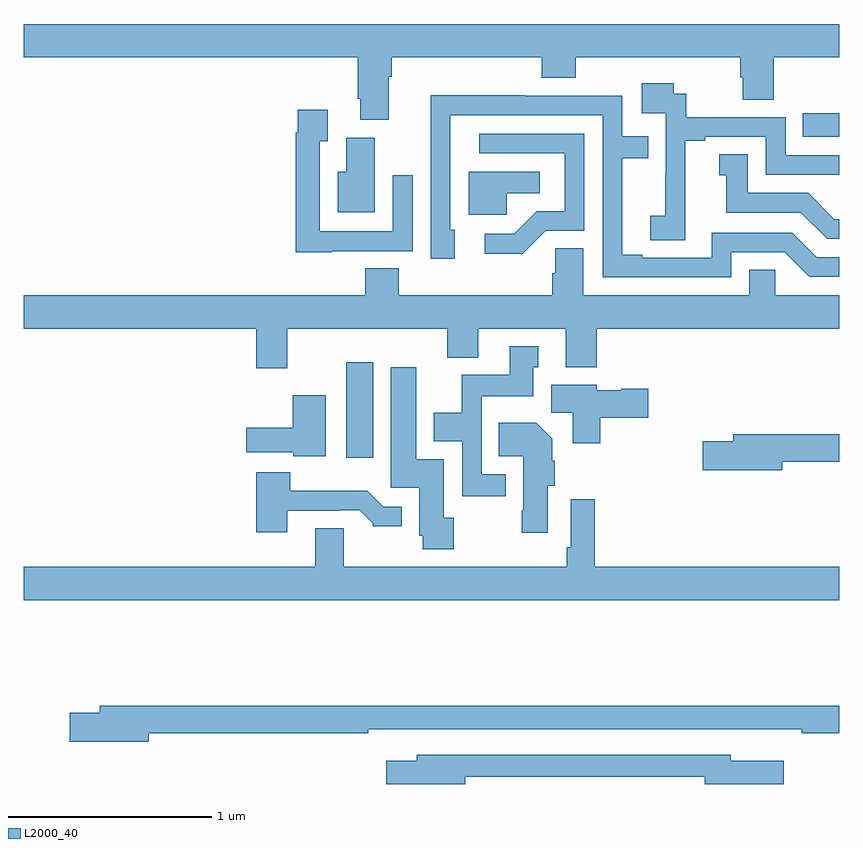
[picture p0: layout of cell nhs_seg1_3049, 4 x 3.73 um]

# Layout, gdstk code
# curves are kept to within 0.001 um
import gdstk
lib = gdstk.Library(unit=1e-6, precision=1e-09)
def R(c, l, rs):  # rectangles x0, y0, x1, y1
    for r in rs: c.add(gdstk.rectangle(r[:2], r[2:], *l))
def P(c, l, *ps):  # polygons
    for p in ps: c.add(gdstk.Polygon(p, *l))
L2000_40 = (2000, 40)

nhs_seg1_3049 = lib.new_cell('nhs_seg1_3049')
R(nhs_seg1_3049, L2000_40, [(278.582,517.8,278.713,518.269), (280.822,519.375,281,519.49)])
P(nhs_seg1_3049, L2000_40, [(278.791,519.668),(278.804,519.668),(278.804,519.764),(279.542,519.764),(279.542,519.665),(279.707,519.665),(279.707,519.764),(280.514,519.764),(280.514,519.666),(280.526,519.666),(280.526,519.556),(280.679,519.556),(280.679,519.764),(281,519.764),(281,519.928),(277,519.928),(277,519.764),(278.639,519.764),(278.639,519.562),(278.651,519.562),(278.651,519.457),(278.791,519.457)],
  [(280.244,518.977),(280.246,518.977),(280.246,519.355),(280.342,519.355),(280.342,519.375),(280.641,519.375),(280.641,519.189),(281,519.189),(281,519.285),(280.737,519.285),(280.737,519.471),(280.25,519.471),(280.25,519.585),(280.188,519.585),(280.188,519.637),(280.032,519.637),(280.032,519.489),(280.149,519.489),(280.149,519.185),(280.148,519.185),(280.148,518.988),(280.074,518.988),(280.074,518.866),(280.244,518.866)],
  [(280.47,518.808),(280.734,518.808),(280.854,518.688),(281,518.688),(281,518.784),(280.89,518.784),(280.77,518.904),(280.374,518.904),(280.374,518.781),(280.033,518.781),(280.033,518.796),(279.937,518.796),(279.937,519.27),(280.064,519.27),(280.064,519.378),(279.936,519.378),(279.936,519.576),(279.458,519.576),(279.458,519.578),(278.996,519.578),(278.997,518.775),(279.115,518.775),(279.115,518.919),(279.093,518.919),(279.093,519.48),(279.84,519.48),(279.84,518.685),(280.47,518.685)],
  [(278.511,518.814),(278.907,518.814),(278.907,519.187),(278.811,519.187),(278.811,518.91),(278.451,518.91),(278.451,519.352),(278.491,519.352),(278.491,519.508),(278.343,519.508),(278.343,519.395),(278.335,519.395),(278.335,518.807),(278.511,518.807)],
  [(279.561,518.913),(279.75,518.913),(279.75,519.39),(279.234,519.39),(279.234,519.294),(279.654,519.294),(279.654,519.009),(279.516,519.009),(279.405,518.898),(279.261,518.898),(279.261,518.801),(279.448,518.801)],
  [(278.722,519.371),(278.582,519.371),(278.582,519.202),(278.54,519.202),(278.54,519.005),(278.722,519.005)],
  [(281,518.971),(280.976,518.971),(280.848,519.099),(280.552,519.099),(280.552,519.29),(280.412,519.29),(280.412,519.187),(280.445,519.187),(280.445,519.003),(280.812,519.003),(280.941,518.874),(281,518.874)],
  [(279.369,519.098),(279.532,519.098),(279.532,519.202),(279.182,519.202),(279.182,518.991),(279.369,518.991)],
  [(278.293,518.432),(279.077,518.432),(279.077,518.291),(279.229,518.291),(279.229,518.432),(279.659,518.432),(279.659,518.243),(279.812,518.243),(279.812,518.432),(281,518.432),(281,518.596),(280.686,518.596),(280.686,518.723),(280.559,518.723),(280.559,518.596),(279.745,518.596),(279.745,518.828),(279.606,518.828),(279.606,518.705),(279.593,518.705),(279.593,518.596),(278.84,518.596),(278.84,518.729),(278.675,518.729),(278.675,518.596),(277,518.596),(277,518.432),(278.141,518.432),(278.141,518.238),(278.293,518.238)],
  [(279.364,517.719),(279.246,517.719),(279.246,518.102),(279.499,518.102),(279.499,518.244),(279.523,518.244),(279.523,518.347),(279.383,518.347),(279.383,518.206),(279.148,518.206),(279.148,518.02),(279.011,518.02),(279.011,517.88),(279.15,517.88),(279.15,517.611),(279.364,517.611)],
  [(279.108,517.506),(279.061,517.506),(279.061,517.792),(278.926,517.792),(278.926,518.245),(278.801,518.245),(278.801,517.653),(278.939,517.653),(278.939,517.416),(278.956,517.416),(278.956,517.35),(279.108,517.35)],
  [(279.827,517.996),(280.063,517.996),(280.063,518.139),(279.93,518.139),(279.93,518.131),(279.81,518.131),(279.81,518.158),(279.587,518.158),(279.587,518.02),(279.692,518.02),(279.692,517.871),(279.827,517.871)],
  [(278.482,518.107),(278.318,518.107),(278.318,517.948),(278.091,517.948),(278.091,517.826),(278.322,517.826),(278.322,517.808),(278.482,517.808)],
  [(279.571,517.662),(279.605,517.662),(279.605,517.784),(279.592,517.784),(279.592,517.894),(279.514,517.972),(279.331,517.972),(279.331,517.808),(279.449,517.808),(279.449,517.543),(279.442,517.543),(279.442,517.431),(279.571,517.431)],
  [(280.72,517.78),(281,517.78),(281,517.916),(280.481,517.916),(280.481,517.88),(280.332,517.88),(280.332,517.738),(280.72,517.738)],
  [(278.293,517.539),(278.549,517.539),(278.549,517.542),(278.648,517.542),(278.712,517.478),(278.712,517.463),(278.854,517.463),(278.854,517.56),(278.763,517.56),(278.685,517.639),(278.306,517.639),(278.306,517.729),(278.141,517.729),(278.141,517.434),(278.293,517.434)],
  [(281,517.264),(279.8,517.264),(279.8,517.597),(279.684,517.597),(279.684,517.36),(279.664,517.36),(279.664,517.264),(278.569,517.264),(278.569,517.454),(278.429,517.454),(278.429,517.264),(277,517.264),(277,517.1),(281,517.1)],
  [(277.612,516.448),(278.69,516.448),(278.69,516.468),(280.564,516.468),(280.564,516.467),(280.816,516.467),(280.816,516.448),(281,516.448),(281,516.584),(277.373,516.584),(277.373,516.548),(277.224,516.548),(277.224,516.406),(277.612,516.406)],
  [(279.166,516.234),(280.34,516.234),(280.34,516.199),(280.729,516.199),(280.729,516.313),(280.468,516.313),(280.468,516.342),(278.927,516.342),(278.927,516.313),(278.778,516.313),(278.778,516.199),(279.166,516.199)])

lib.write_gds('nhs_seg1_3049.gds')
